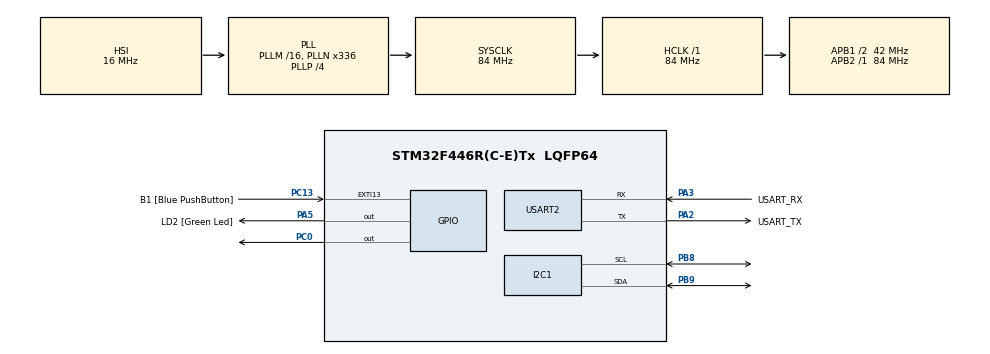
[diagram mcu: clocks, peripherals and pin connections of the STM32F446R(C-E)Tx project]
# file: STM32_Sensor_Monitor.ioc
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FREERTOS.INCLUDE_xSemaphoreGetMutexHolder=1
FREERTOS.Tasks01=defaultTask,24,128,StartDefaultTask,Default,NULL,Dynamic,NULL,NULL
FREERTOS.configCHECK_FOR_STACK_OVERFLOW=1
FREERTOS.configUSE_MALLOC_FAILED_HOOK=1
FREERTOS.configUSE_NEWLIB_REENTRANT=1
Mcu.Family=STM32F4
Mcu.Name=STM32F446R(C-E)Tx
Mcu.Package=LQFP64
NVIC.PriorityGroup=NVIC_PRIORITYGROUP_4
NVIC.TIM1_UP_TIM10_IRQn=true\:15\:0\:false\:false\:true\:false\:false\:true\:true
NVIC.TimeBase=TIM1_UP_TIM10_IRQn
NVIC.TimeBaseIP=TIM1
PA13.GPIO_Label=TMS
PA13.Mode=Serial_Wire
PA13.Signal=SYS_JTMS-SWDIO
PA14.GPIO_Label=TCK
PA14.Mode=Serial_Wire
PA14.Signal=SYS_JTCK-SWCLK
PA2.GPIO_Label=USART_TX
PA2.Mode=Asynchronous
PA2.Signal=USART2_TX
PA3.GPIO_Label=USART_RX
PA3.Mode=Asynchronous
PA3.Signal=USART2_RX
PA5.GPIO_Label=LD2 [Green Led]
PA5.Signal=GPIO_Output
PB3.GPIO_Label=SWO
PB3.Signal=SYS_JTDO-SWO
PB8.Mode=I2C
PB8.Signal=I2C1_SCL
PB9.Mode=I2C
PB9.Signal=I2C1_SDA
PC0.Signal=GPIO_Output
PC13.GPIO_Label=B1 [Blue PushButton]
PC13.GPIO_ModeDefaultEXTI=GPIO_MODE_IT_FALLING
PC13.Signal=GPXTI13
PC14-OSC32_IN.Mode=LSE-External-Oscillator
PC14-OSC32_IN.Signal=RCC_OSC32_IN
PC15-OSC32_OUT.Mode=LSE-External-Oscillator
PC15-OSC32_OUT.Signal=RCC_OSC32_OUT
PH0-OSC_IN.Mode=HSE-External-Oscillator
PH0-OSC_IN.Signal=RCC_OSC_IN
PH1-OSC_OUT.Mode=HSE-External-Oscillator
PH1-OSC_OUT.Signal=RCC_OSC_OUT
ProjectManager.HeapSize=0x200
ProjectManager.StackSize=0x400
ProjectManager.TargetToolchain=STM32CubeIDE
RCC.48MHZClocksFreq_Value=84000000
RCC.AHBFreq_Value=84000000
RCC.APB1CLKDivider=RCC_HCLK_DIV2
RCC.APB1Freq_Value=42000000
RCC.APB1TimFreq_Value=84000000
RCC.APB2Freq_Value=84000000
RCC.APB2TimFreq_Value=84000000
RCC.CortexFreq_Value=84000000
RCC.FLatency-AdvancedSettings=FLASH_LATENCY_2
RCC.HCLKFreq_Value=84000000
RCC.HSE_VALUE=8000000
RCC.HSI_VALUE=16000000
RCC.PLLN=336
RCC.PLLP=RCC_PLLP_DIV4
RCC.SYSCLKFreq_VALUE=84000000
RCC.SYSCLKSource=RCC_SYSCLKSOURCE_PLLCLK
RCC.USBFreq_Value=168000000
RCC.VCOOutputFreq_Value=336000000
USART2.VirtualMode=VM_ASYNC
VP_FREERTOS_VS_CMSIS_V2.Mode=CMSIS_V2
VP_SYS_VS_tim1.Mode=TIM1
board=NUCLEO-F446RE

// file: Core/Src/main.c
/* USER CODE BEGIN Header */
/**
  ******************************************************************************
  * @file           : main.c
  * @brief          : Main program body
  ******************************************************************************
  * @attention
  *
  * Copyright (c) 2026 STMicroelectronics.
  * All rights reserved.
  *
  * This software is licensed under terms that can be found in the LICENSE file
  * in the root directory of this software component.
  * If no LICENSE file comes with this software, it is provided AS-IS.
  *
  ******************************************************************************
  */
/* USER CODE END Header */
#include "main.h"
#include "cmsis_os.h"

/* USER CODE BEGIN Includes */
#include "app_bridge.h"
/* USER CODE END Includes */

I2C_HandleTypeDef hi2c1;

UART_HandleTypeDef huart2;

/* Definitions for defaultTask */
osThreadId_t defaultTaskHandle;
const osThreadAttr_t defaultTask_attributes = {
  .name = "defaultTask",
  .stack_size = 128 * 4,
  .priority = (osPriority_t) osPriorityNormal,
};
/* USER CODE BEGIN PV */

/* Task handles */
osThreadId_t sensorTaskHandle;
osThreadId_t diagTaskHandle;
osThreadId_t manageTaskHandle;

/* Task attributes */
const osThreadAttr_t sensorTask_attributes = {
  .name = "sensorTask",
  .stack_size = 256 * 4,
  .priority = (osPriority_t) osPriorityHigh,
};

const osThreadAttr_t diagTask_attributes = {
  .name = "diagTask",
  .stack_size = 128 * 4,
  .priority = (osPriority_t) osPriorityAboveNormal,
};

const osThreadAttr_t manageTask_attributes = {
  .name = "manageTask",
  .stack_size = 256 * 4,
  .priority = (osPriority_t) osPriorityNormal,
};

/* USER CODE END PV */

void SystemClock_Config(void);
static void MX_GPIO_Init(void);
static void MX_USART2_UART_Init(void);
static void MX_I2C1_Init(void);
void StartDefaultTask(void *argument);

int main(void)
{

  /* MCU Configuration--------------------------------------------------------*/

  /* Reset of all peripherals, Initializes the Flash interface and the Systick. */
  HAL_Init();

  /* Configure the system clock */
  SystemClock_Config();

  /* Initialize all configured peripherals */
  MX_GPIO_Init();
  MX_USART2_UART_Init();
  MX_I2C1_Init();

  /* Init scheduler */
  osKernelInitialize();

  /* USER CODE BEGIN RTOS_MUTEX */
  /* Mutex and Event Flags created inside App_Init() */
  App_Init();
  /* USER CODE END RTOS_MUTEX */

  /* Create the thread(s) */
  /* creation of defaultTask */
  defaultTaskHandle = osThreadNew(StartDefaultTask, NULL, &defaultTask_attributes);

  /* USER CODE BEGIN RTOS_THREADS */
  sensorTaskHandle = osThreadNew(App_SensorTask, NULL, &sensorTask_attributes);
  diagTaskHandle   = osThreadNew(App_DiagTask,   NULL, &diagTask_attributes);
  manageTaskHandle = osThreadNew(App_ManageTask, NULL, &manageTask_attributes);
  /* USER CODE END RTOS_THREADS */

  /* Start scheduler */
  osKernelStart();

  /* We should never get here as control is now taken by the scheduler */

  /* Infinite loop */
  while (1)
  {

  }
}

void SystemClock_Config(void)
{
  RCC_OscInitTypeDef RCC_OscInitStruct = {0};
  RCC_ClkInitTypeDef RCC_ClkInitStruct = {0};

  /** Configure the main internal regulator output voltage
  */
  __HAL_RCC_PWR_CLK_ENABLE();
  __HAL_PWR_VOLTAGESCALING_CONFIG(PWR_REGULATOR_VOLTAGE_SCALE3);

  /** Initializes the RCC Oscillators according to the specified parameters
  * in the RCC_OscInitTypeDef structure.
  */
  RCC_OscInitStruct.OscillatorType = RCC_OSCILLATORTYPE_HSI;
  RCC_OscInitStruct.HSIState = RCC_HSI_ON;
  RCC_OscInitStruct.HSICalibrationValue = RCC_HSICALIBRATION_DEFAULT;
  RCC_OscInitStruct.PLL.PLLState = RCC_PLL_ON;
  RCC_OscInitStruct.PLL.PLLSource = RCC_PLLSOURCE_HSI;
  RCC_OscInitStruct.PLL.PLLM = 16;
  RCC_OscInitStruct.PLL.PLLN = 336;
  RCC_OscInitStruct.PLL.PLLP = RCC_PLLP_DIV4;
  RCC_OscInitStruct.PLL.PLLQ = 2;
  RCC_OscInitStruct.PLL.PLLR = 2;
  if (HAL_RCC_OscConfig(&RCC_OscInitStruct) != HAL_OK)
  {
    Error_Handler();
  }

  /** Initializes the CPU, AHB and APB buses clocks
  */
  RCC_ClkInitStruct.ClockType = RCC_CLOCKTYPE_HCLK|RCC_CLOCKTYPE_SYSCLK
                              |RCC_CLOCKTYPE_PCLK1|RCC_CLOCKTYPE_PCLK2;
  RCC_ClkInitStruct.SYSCLKSource = RCC_SYSCLKSOURCE_PLLCLK;
  RCC_ClkInitStruct.AHBCLKDivider = RCC_SYSCLK_DIV1;
  RCC_ClkInitStruct.APB1CLKDivider = RCC_HCLK_DIV2;
  RCC_ClkInitStruct.APB2CLKDivider = RCC_HCLK_DIV1;

  if (HAL_RCC_ClockConfig(&RCC_ClkInitStruct, FLASH_LATENCY_2) != HAL_OK)
  {
    Error_Handler();
  }
}

static void MX_I2C1_Init(void)
{

  hi2c1.Instance = I2C1;
  hi2c1.Init.ClockSpeed = 100000;
  hi2c1.Init.DutyCycle = I2C_DUTYCYCLE_2;
  hi2c1.Init.OwnAddress1 = 0;
  hi2c1.Init.AddressingMode = I2C_ADDRESSINGMODE_7BIT;
  hi2c1.Init.DualAddressMode = I2C_DUALADDRESS_DISABLE;
  hi2c1.Init.OwnAddress2 = 0;
  hi2c1.Init.GeneralCallMode = I2C_GENERALCALL_DISABLE;
  hi2c1.Init.NoStretchMode = I2C_NOSTRETCH_DISABLE;
  if (HAL_I2C_Init(&hi2c1) != HAL_OK)
  {
    Error_Handler();
  }

}

static void MX_USART2_UART_Init(void)
{

  huart2.Instance = USART2;
  huart2.Init.BaudRate = 115200;
  huart2.Init.WordLength = UART_WORDLENGTH_8B;
  huart2.Init.StopBits = UART_STOPBITS_1;
  huart2.Init.Parity = UART_PARITY_NONE;
  huart2.Init.Mode = UART_MODE_TX_RX;
  huart2.Init.HwFlowCtl = UART_HWCONTROL_NONE;
  huart2.Init.OverSampling = UART_OVERSAMPLING_16;
  if (HAL_UART_Init(&huart2) != HAL_OK)
  {
    Error_Handler();
  }

}

static void MX_GPIO_Init(void)
{
  GPIO_InitTypeDef GPIO_InitStruct = {0};

  /* GPIO Ports Clock Enable */
  __HAL_RCC_GPIOC_CLK_ENABLE();
  __HAL_RCC_GPIOH_CLK_ENABLE();
  __HAL_RCC_GPIOA_CLK_ENABLE();
  __HAL_RCC_GPIOB_CLK_ENABLE();

  /*Configure GPIO pin Output Level */
  HAL_GPIO_WritePin(GPIOC, GPIO_PIN_0, GPIO_PIN_RESET);

  /*Configure GPIO pin Output Level */
  HAL_GPIO_WritePin(LD2_GPIO_Port, LD2_Pin, GPIO_PIN_RESET);

  /*Configure GPIO pin : B1_Pin */
  GPIO_InitStruct.Pin = B1_Pin;
  GPIO_InitStruct.Mode = GPIO_MODE_IT_FALLING;
  GPIO_InitStruct.Pull = GPIO_NOPULL;
  HAL_GPIO_Init(B1_GPIO_Port, &GPIO_InitStruct);

  /*Configure GPIO pin : PC0 */
  GPIO_InitStruct.Pin = GPIO_PIN_0;
  GPIO_InitStruct.Mode = GPIO_MODE_OUTPUT_PP;
  GPIO_InitStruct.Pull = GPIO_NOPULL;
  GPIO_InitStruct.Speed = GPIO_SPEED_FREQ_LOW;
  HAL_GPIO_Init(GPIOC, &GPIO_InitStruct);

  /*Configure GPIO pin : LD2_Pin */
  GPIO_InitStruct.Pin = LD2_Pin;
  GPIO_InitStruct.Mode = GPIO_MODE_OUTPUT_PP;
  GPIO_InitStruct.Pull = GPIO_NOPULL;
  GPIO_InitStruct.Speed = GPIO_SPEED_FREQ_LOW;
  HAL_GPIO_Init(LD2_GPIO_Port, &GPIO_InitStruct);

}

void StartDefaultTask(void *argument)
{
  /* USER CODE BEGIN 5 */

  /* Application tasks are handled by App_SensorTask, App_DiagTask, App_ManageTask.
   * This default task is kept for CubeIDE compatibility but remains idle. */
  for(;;)
  {
    osDelay(10000);
  }
  /* USER CODE END 5 */
}

void HAL_TIM_PeriodElapsedCallback(TIM_HandleTypeDef *htim)
{
  if (htim->Instance == TIM1)
  {
    HAL_IncTick();
  }
}

void Error_Handler(void)
{
  __disable_irq();
  while (1)
  {
  }
}
